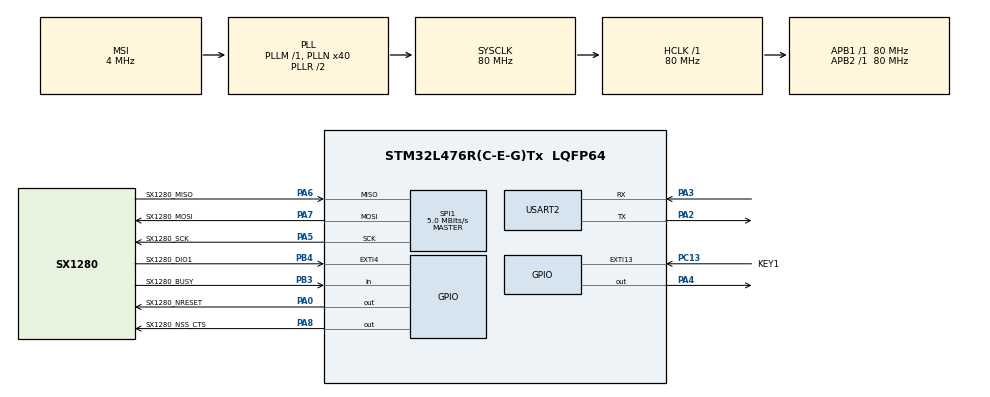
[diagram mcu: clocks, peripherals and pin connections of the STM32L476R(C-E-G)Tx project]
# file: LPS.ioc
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LPTIM1.ClockPrescaler=LPTIM_PRESCALER_DIV128
Mcu.Family=STM32L4
Mcu.Name=STM32L476R(C-E-G)Tx
Mcu.Package=LQFP64
NVIC.EXTI15_10_IRQn=true\:2\:0\:true\:false\:true\:true\:true
NVIC.EXTI4_IRQn=true\:3\:0\:true\:false\:true\:true\:true
NVIC.LPTIM1_IRQn=true\:1\:0\:true\:false\:true\:true\:true
NVIC.PriorityGroup=NVIC_PRIORITYGROUP_4
PA0.GPIO_Label=SX1280_NRESET
PA0.Signal=GPIO_Output
PA13\ (JTMS-SWDIO).Mode=Serial_Wire
PA13\ (JTMS-SWDIO).Signal=SYS_JTMS-SWDIO
PA14\ (JTCK-SWCLK).Mode=Serial_Wire
PA14\ (JTCK-SWCLK).Signal=SYS_JTCK-SWCLK
PA2.Mode=Asynchronous
PA2.Signal=USART2_TX
PA3.Mode=Asynchronous
PA3.Signal=USART2_RX
PA4.Signal=GPIO_Output
PA5.GPIO_Label=SX1280_SCK
PA5.Mode=Full_Duplex_Master
PA5.Signal=SPI1_SCK
PA6.GPIO_Label=SX1280_MISO
PA6.Mode=Full_Duplex_Master
PA6.Signal=SPI1_MISO
PA7.GPIO_Label=SX1280_MOSI
PA7.Mode=Full_Duplex_Master
PA7.Signal=SPI1_MOSI
PA8.GPIO_Label=SX1280_NSS_CTS
PA8.Signal=GPIO_Output
PB3\ (JTDO-TRACESWO).GPIO_Label=SX1280_BUSY
PB3\ (JTDO-TRACESWO).Signal=GPIO_Input
PB4\ (NJTRST).GPIO_Label=SX1280_DIO1
PB4\ (NJTRST).Signal=GPXTI4
PC13.GPIO_Label=KEY1
PC13.GPIO_ModeDefaultEXTI=GPIO_MODE_IT_FALLING
PC13.Signal=GPXTI13
ProjectManager.HeapSize=0x1000
ProjectManager.StackSize=0x1000
ProjectManager.TargetToolchain=MDK-ARM V5.27
RCC.AHBFreq_Value=80000000
RCC.APB1Freq_Value=80000000
RCC.APB1TimFreq_Value=80000000
RCC.APB2Freq_Value=80000000
RCC.APB2TimFreq_Value=80000000
RCC.CortexFreq_Value=80000000
RCC.HCLKFreq_Value=80000000
RCC.HSE_VALUE=8000000
RCC.HSI_VALUE=16000000
RCC.LSE_VALUE=32768
RCC.MSI_VALUE=4000000
RCC.PLLN=40
RCC.SYSCLKFreq_VALUE=80000000
RCC.SYSCLKSource=RCC_SYSCLKSOURCE_PLLCLK
RCC.VCOOutputFreq_Value=160000000
SPI1.BaudRatePrescaler=SPI_BAUDRATEPRESCALER_16
SPI1.CalculateBaudRate=5.0 MBits/s
SPI1.DataSize=SPI_DATASIZE_8BIT
SPI1.Direction=SPI_DIRECTION_2LINES
SPI1.Mode=SPI_MODE_MASTER
SPI1.NSSPMode=SPI_NSS_PULSE_DISABLE
SPI1.VirtualType=VM_MASTER
USART2.VirtualMode-Asynchronous=VM_ASYNC
VP_LPTIM1_VS_LPTIM_counterModeInternalClock.Mode=Counts__internal_clock_event_00
board=custom

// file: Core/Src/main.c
/* USER CODE BEGIN Header */
/**
  ******************************************************************************
  * @file           : main.c
  * @brief          : Main program body
  ******************************************************************************
  * @attention
  *
  * <h2><center>&copy; Copyright (c) 2021 STMicroelectronics.
  * All rights reserved.</center></h2>
  *
  * This software component is licensed by ST under BSD 3-Clause license,
  * the "License"; You may not use this file except in compliance with the
  * License. You may obtain a copy of the License at:
  *                        opensource.org/licenses/BSD-3-Clause
  *
  ******************************************************************************
  */
/* USER CODE END Header */
#include "main.h"
#include "lptim.h"
#include "spi.h"
#include "usart.h"
#include "gpio.h"
#include "route.h"

/* USER CODE BEGIN Includes */
#include "ranging.h"
#include "SEGGER_RTT.h"
/* USER CODE END Includes */

/* USER CODE BEGIN PTD */

extern int EntryNumber;
extern int RTindex[];
extern RT_Entry* RouteTable[];
extern uint32_t reply_ip;
extern uint32_t My_addr;
extern uint16_t SEQ;

DeviceStates_t DeviceState=DEVICE_MODE_IDLERX;
/* USER CODE END PTD */

/* USER CODE BEGIN PD */
#define LORANGE_ENTITY MASTER
/* USER CODE END PD */

/* USER CODE BEGIN PV */
double distance;
uint32_t RangingDemoAddress =  0x00010001;
uint8_t RangingDoneFlag = 0;
uint8_t RxDoneFlag = 0;
uint8_t RxData[20];
uint8_t RxSize = 1;
uint32_t TxTimestamp;
uint8_t TxLength;
uint8_t* TxData;
uint8_t LPTIM1Count = 0;
char RTT_UpBuffer[4096];
struct
{
  uint8_t AliveTxInterval;
}AliveTxParams;
struct
{
  uint8_t TxDone;
}ProcDoneFlag;
typedef struct
{
  uint32_t ID;
  uint32_t LastSeen;
}RouteTableElement_t;

struct{
  int distance;
}RTT_Value;
/* USER CODE END PV */

void SystemClock_Config(void);

/* USER CODE BEGIN 0 */
void HAL_LPTIM1_INT_Callback(void) //waiting list resend
{
  MeshPackage* p=(MeshPackage*)malloc(sizeof(MeshPackage));
	p->type=2;
	p->length=0;
  p->des_addr=2;
	p->hop_addr=2;
	p->src_addr=My_addr;
	p->ttl=0;
	p->ack=0;
	p->seq=SEQ;
	p->hops=0;
	Mesh_Send(p, NULL, 0);
  //printf("Send success!:%s-end\n", p);
  free(p);
}

// void HAL_RECV_Callback(void){
// 	switch (DeviceState)
//     {
//     case DEVICE_MODE_IDLERX:
//       if(RxDoneFlag)
//       {
//         SX1280GetPayload(RxData, &RxSize, 20);
// 				MeshPackage* p=(MeshPackage*)RxData;
// 				Mesh_Recieve((char*)RxData, RxSize);
// //        printf("RT_num=%d\n",EntryNumber);
// //				for(int i=0; i<EntryNumber; i++){
// //					printf("des:%d, flag:%d, fresh:%d, next:%d, num:%d\n",RouteTable[i]->des_addr, RouteTable[i]->flag, RouteTable[i]->Freshness, RouteTable[i]->next_hop, RouteTable[i]->num_hops);
// //				}

//         RxDoneFlag = 0;
//         LoRaSetRx();
//       }
//       break;
//     default:
//       break;
//     }
// }

void parse_package(MeshPackage* package){
	printf("Im %d, get package form %d, seq=%d, des=%d, hop=%d, type=%d\n",My_addr, package->src_addr, package->seq, package->des_addr, package->hop_addr, package->type);
	if(package->type==0) //join
  {
		printf("Im node%d, get JOIN request form node%d, seq=%d, hop=%d\n",My_addr, package->src_addr, package->seq, package->hop_addr);

    Mesh_Reply_Join(package); //未实现，结点入网申请，是否需要？
  }
  else if(package->type==1&&package->des_addr==My_addr) //针对自己的应答包
  {
		printf("Im node%d, get REPLY form node%d, seq=%d, hop=%d\n",My_addr, package->src_addr, package->seq, package->hop_addr);
    Mesh_Handle_Reply(package); //处理应答
  }
  else if(package->hop_addr==My_addr) //转发包
  {
		printf("Im node%d, get TRANSMIT request form node%d to node%d, seq=%d, hop=%d\n",My_addr, package->src_addr, package->des_addr, package->seq, package->hop_addr);
    if(package->type==2&&package->des_addr==My_addr) //收到的是发给自己的包
    {
      printf("Get message to me!\n");
      Mesh_Reply(package); //进行应答
      //处理数据
			char tmp[package->length+1];
			memcpy(tmp, (char*)package+sizeof(MeshPackage), package->length);
			tmp[package->length]='\0';
			printf("==>Recieved package from node%d, message: %s\n", package->src_addr, tmp);
    //
		}
    else //发给别人的包
    {
			printf("Transmit package to node%d\n", package->des_addr);
      Mesh_transmit(package); //进行转发
    }
  }
  else if(package->type==3) //广播查找
  {
		printf("Im node%d, get BROADCAST request form node%d to find node%d, seq=%d, hop=%d\n",My_addr, package->src_addr, package->des_addr, package->seq, package->hop_addr);
    Mesh_Handle_Broadcast(package); //处理广播请求
  }
  else //undefined package
  {
    printf("Undefined package\n");
  }
}

void HAL_GPIO_EXTI_Callback(uint16_t GPIO_Pin)
{
  if(GPIO_Pin == GPIO_PIN_4)//SX1280 Interrupt
  {
    SX1280_PacketStatus_t *pktStatus;
    SX1280GetPacketStatus(pktStatus);
    uint16_t IrqStatus = SX1280GetIrqStatus();
    printf("EXTI, RSSI=%f, IRQ=%d, RSSI2=%d\n",((double)(-((int8_t)SX1280GetRssiInst())))/2,IrqStatus,pktStatus->Params.LoRa.RssiPkt);
    if((IrqStatus & SX1280_IRQ_TX_DONE) == SX1280_IRQ_TX_DONE)
    {
        DeviceState = DEVICE_MODE_IDLERX;
        LoRaSetRx();
        printf("TxDone %d \n",TxTimestamp);
        ProcDoneFlag.TxDone = 1;
    }
    if((IrqStatus & SX1280_IRQ_RX_DONE) == SX1280_IRQ_RX_DONE)
    {
        RxDoneFlag = 1;
        printf("RxDone\n");
    }

    if(DeviceState == DEVICE_MODE_RANGING) RangingDoneFlag = 1;

    SX1280ClearIrqStatus(SX1280_IRQ_RADIO_ALL);
  }
}
/* USER CODE END 0 */

int main(void)
{

  /* MCU Configuration--------------------------------------------------------*/

  /* Reset of all peripherals, Initializes the Flash interface and the Systick. */
  HAL_Init();

  /* Configure the system clock */
  SystemClock_Config();

  /* Initialize all configured peripherals */
  MX_GPIO_Init();
  MX_SPI1_Init();
  MX_USART2_UART_Init();
  MX_LPTIM1_Init();
  /* USER CODE BEGIN 2 */
  AliveTxParams.AliveTxInterval = 60;
  ProcDoneFlag.TxDone =0;
  printf("LoRange| Bulid:%s\n",__DATE__);
  RangingSetParams();
  RangingInitRadio();
  printf("Version:%x\n",SX1280GetFirmwareVersion());
  // if(LORANGE_ENTITY)
  // {
  //   printf("Slave\n");
  //   RangingInit(SX1280_RADIO_RANGING_ROLE_SLAVE,RangingDemoAddress);
  // }
  // else
  // {
  //   printf("Master\n");
  //   RangingInit(SX1280_RADIO_RANGING_ROLE_MASTER,RangingDemoAddress);
  // }

  //HAL_LPTIM_TimeOut_Start_IT(&hlptim1,0xfffff,0);
  init_Route();
  LoRaSetRx();
  /* USER CODE END 2 */

	//findRoute_RT(1, 1, 0);
	//printf("sended find\n");
  /* Infinite loop */
  /* USER CODE BEGIN WHILE */
  while (1)
  {
    switch (DeviceState)
    {
    case DEVICE_MODE_IDLERX:
      if(RxDoneFlag)
      {
        SX1280GetPayload(RxData, &RxSize, 100);
				MeshPackage* package=(MeshPackage*)RxData;

        parse_package(package);//解析包

        RxDoneFlag = 0;
//        LoRaSetRx();
			// 	Mesh_Recieve((char*)RxData, RxSize);
      //  printf("RT_num=%d\n",EntryNumber);
			// 	for(int i=0; i<EntryNumber; i++){
			// 		printf("des:%d, flag:%d, fresh:%d, next:%d, num:%d\n",RouteTable[i]->des_addr, RouteTable[i]->flag, RouteTable[i]->Freshness, RouteTable[i]->next_hop, RouteTable[i]->num_hops);
			// 	}
      }
      break;
    case DEVICE_MODE_RANGING:
      //waiting for ranging
    default:
      break;
    }
    //
    /* USER CODE END WHILE */

  }

//	for(int i=0; i<10; i++){
//		MeshPackage* p=(MeshPackage*)malloc(sizeof(MeshPackage));
//		p->type=0;
//		p->length=1;
//		p->dest=i;
//		p->src=11;
//		p->ttl=i;
//		TxLength = sizeof(*p);
//		LoRaSendData((uint8_t*)p, TxLength);
//		LoRaSetRx();
//		uint32_t timer=0;
//		//uint8_t success_flag=0;
//		while(timer<=10000000){
////			if(reply_ip==i) {
////				success_flag=1;
////				break;
////			}
//			HAL_RECV_Callback();
//			timer++;
//		}
//		//HAL_RECV_Callback();
//
//		if(reply_ip==i) printf("success transmit!");
//		else {
//			printf("repeat send des=%d", i--);
//		}
//
//	}

}

void SystemClock_Config(void)
{
  RCC_OscInitTypeDef RCC_OscInitStruct = {0};
  RCC_ClkInitTypeDef RCC_ClkInitStruct = {0};
  RCC_PeriphCLKInitTypeDef PeriphClkInit = {0};

  /** Initializes the RCC Oscillators according to the specified parameters
  * in the RCC_OscInitTypeDef structure.
  */
  RCC_OscInitStruct.OscillatorType = RCC_OSCILLATORTYPE_MSI;
  RCC_OscInitStruct.MSIState = RCC_MSI_ON;
  RCC_OscInitStruct.MSICalibrationValue = 0;
  RCC_OscInitStruct.MSIClockRange = RCC_MSIRANGE_6;
  RCC_OscInitStruct.PLL.PLLState = RCC_PLL_ON;
  RCC_OscInitStruct.PLL.PLLSource = RCC_PLLSOURCE_MSI;
  RCC_OscInitStruct.PLL.PLLM = 1;
  RCC_OscInitStruct.PLL.PLLN = 40;
  RCC_OscInitStruct.PLL.PLLP = RCC_PLLP_DIV7;
  RCC_OscInitStruct.PLL.PLLQ = RCC_PLLQ_DIV2;
  RCC_OscInitStruct.PLL.PLLR = RCC_PLLR_DIV2;
  if (HAL_RCC_OscConfig(&RCC_OscInitStruct) != HAL_OK)
  {
    Error_Handler();
  }
  /** Initializes the CPU, AHB and APB buses clocks
  */
  RCC_ClkInitStruct.ClockType = RCC_CLOCKTYPE_HCLK|RCC_CLOCKTYPE_SYSCLK
                              |RCC_CLOCKTYPE_PCLK1|RCC_CLOCKTYPE_PCLK2;
  RCC_ClkInitStruct.SYSCLKSource = RCC_SYSCLKSOURCE_PLLCLK;
  RCC_ClkInitStruct.AHBCLKDivider = RCC_SYSCLK_DIV1;
  RCC_ClkInitStruct.APB1CLKDivider = RCC_HCLK_DIV1;
  RCC_ClkInitStruct.APB2CLKDivider = RCC_HCLK_DIV1;

  if (HAL_RCC_ClockConfig(&RCC_ClkInitStruct, FLASH_LATENCY_4) != HAL_OK)
  {
    Error_Handler();
  }
  PeriphClkInit.PeriphClockSelection = RCC_PERIPHCLK_USART2|RCC_PERIPHCLK_LPTIM1;
  PeriphClkInit.Usart2ClockSelection = RCC_USART2CLKSOURCE_PCLK1;
  PeriphClkInit.Lptim1ClockSelection = RCC_LPTIM1CLKSOURCE_PCLK;
  if (HAL_RCCEx_PeriphCLKConfig(&PeriphClkInit) != HAL_OK)
  {
    Error_Handler();
  }
  /** Configure the main internal regulator output voltage
  */
  if (HAL_PWREx_ControlVoltageScaling(PWR_REGULATOR_VOLTAGE_SCALE1) != HAL_OK)
  {
    Error_Handler();
  }
}

void Error_Handler(void)
{
  __disable_irq();
  while (1)
  {
  }
}

/************************ (C) COPYRIGHT STMicroelectronics *****END OF FILE****/
